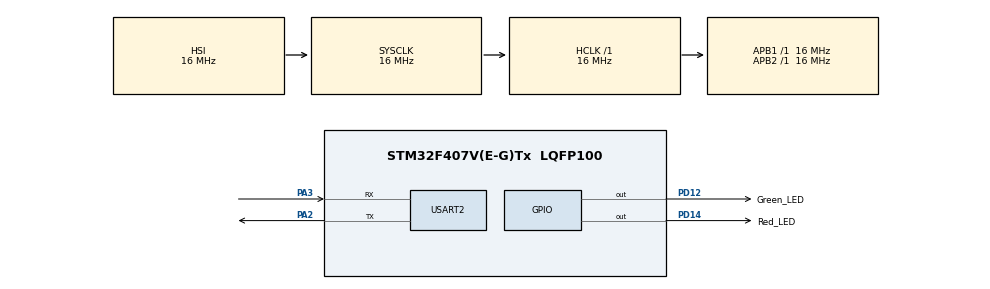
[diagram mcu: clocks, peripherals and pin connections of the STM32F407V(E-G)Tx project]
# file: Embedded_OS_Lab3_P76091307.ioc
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Mcu.Family=STM32F4
Mcu.Name=STM32F407V(E-G)Tx
Mcu.Package=LQFP100
NVIC.PriorityGroup=NVIC_PRIORITYGROUP_4
NVIC.TIM7_IRQn=true\:0\:0\:false\:false\:true\:false\:true
NVIC.TimeBase=TIM7_IRQn
NVIC.TimeBaseIP=TIM7
PA13.Mode=Serial_Wire
PA13.Signal=SYS_JTMS-SWDIO
PA14.Mode=Serial_Wire
PA14.Signal=SYS_JTCK-SWCLK
PA2.Mode=Asynchronous
PA2.Signal=USART2_TX
PA3.Mode=Asynchronous
PA3.Signal=USART2_RX
PD12.GPIO_Label=Green_LED
PD12.Signal=GPIO_Output
PD14.GPIO_Label=Red_LED
PD14.Signal=GPIO_Output
ProjectManager.HeapSize=0x200
ProjectManager.StackSize=0x400
ProjectManager.TargetToolchain=STM32CubeIDE
RCC.AHBFreq_Value=16000000
RCC.APB1Freq_Value=16000000
RCC.APB2Freq_Value=16000000
RCC.CortexFreq_Value=16000000
RCC.HSE_VALUE=25000000
RCC.HSI_VALUE=16000000
RCC.LSE_VALUE=32768
RCC.SYSCLKFreq_VALUE=16000000
RCC.VCOOutputFreq_Value=192000000
USART2.VirtualMode=VM_ASYNC
VP_SYS_VS_tim7.Mode=TIM7
board=custom

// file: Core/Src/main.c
/* USER CODE BEGIN Header */
/**
  ******************************************************************************
  * @file           : main.c
  * @brief          : Main program body
  ******************************************************************************
  * @attention
  *
  * <h2><center>&copy; Copyright (c) 2021 STMicroelectronics.
  * All rights reserved.</center></h2>
  *
  * This software component is licensed by ST under BSD 3-Clause license,
  * the "License"; You may not use this file except in compliance with the
  * License. You may obtain a copy of the License at:
  *                        opensource.org/licenses/BSD-3-Clause
  *
  ******************************************************************************
  */
/* USER CODE END Header */
#include "main.h"

/* USER CODE BEGIN Includes */
#include "FreeRTOS.h"
#include "FreeRTOSConfig.h"
#include "task.h"
/* USER CODE END Includes */

UART_HandleTypeDef huart2;

void SystemClock_Config(void);
static void MX_GPIO_Init(void);
static void MX_USART2_UART_Init(void);
void TaskMonitor_App(void *pvParameters);
void green_blink();
void red_blink();
void delay_task();

int main(void)
{

  /* MCU Configuration--------------------------------------------------------*/

  /* Reset of all peripherals, Initializes the Flash interface and the Systick. */
  HAL_Init();

  /* Configure the system clock */
  SystemClock_Config();

  /* Initialize all configured peripherals */
  MX_GPIO_Init();
  MX_USART2_UART_Init();
  /* USER CODE BEGIN 2 */
  //xTaskCreate(green_blink,"green_blink",130,NULL,1,NULL);
  //xTaskCreate(red_blink,"red_blink",130,NULL,1,NULL);
  //xTaskCreate(delay_task,"delay_task",130,NULL,14,NULL);
  xTaskCreate(TaskMonitor_App,"TaskMonitor",130,NULL,2,NULL);
  vTaskStartScheduler();
  /* USER CODE END 2 */

  /* Infinite loop */
  while (1)
  {

  }
}

void SystemClock_Config(void)
{
  RCC_OscInitTypeDef RCC_OscInitStruct = {0};
  RCC_ClkInitTypeDef RCC_ClkInitStruct = {0};

  /** Configure the main internal regulator output voltage
  */
  __HAL_RCC_PWR_CLK_ENABLE();
  __HAL_PWR_VOLTAGESCALING_CONFIG(PWR_REGULATOR_VOLTAGE_SCALE1);
  /** Initializes the RCC Oscillators according to the specified parameters
  * in the RCC_OscInitTypeDef structure.
  */
  RCC_OscInitStruct.OscillatorType = RCC_OSCILLATORTYPE_HSI;
  RCC_OscInitStruct.HSIState = RCC_HSI_ON;
  RCC_OscInitStruct.HSICalibrationValue = RCC_HSICALIBRATION_DEFAULT;
  RCC_OscInitStruct.PLL.PLLState = RCC_PLL_NONE;
  if (HAL_RCC_OscConfig(&RCC_OscInitStruct) != HAL_OK)
  {
    Error_Handler();
  }
  /** Initializes the CPU, AHB and APB buses clocks
  */
  RCC_ClkInitStruct.ClockType = RCC_CLOCKTYPE_HCLK|RCC_CLOCKTYPE_SYSCLK
                              |RCC_CLOCKTYPE_PCLK1|RCC_CLOCKTYPE_PCLK2;
  RCC_ClkInitStruct.SYSCLKSource = RCC_SYSCLKSOURCE_HSI;
  RCC_ClkInitStruct.AHBCLKDivider = RCC_SYSCLK_DIV1;
  RCC_ClkInitStruct.APB1CLKDivider = RCC_HCLK_DIV1;
  RCC_ClkInitStruct.APB2CLKDivider = RCC_HCLK_DIV1;

  if (HAL_RCC_ClockConfig(&RCC_ClkInitStruct, FLASH_LATENCY_0) != HAL_OK)
  {
    Error_Handler();
  }
}

static void MX_USART2_UART_Init(void)
{

  huart2.Instance = USART2;
  huart2.Init.BaudRate = 115200;
  huart2.Init.WordLength = UART_WORDLENGTH_8B;
  huart2.Init.StopBits = UART_STOPBITS_1;
  huart2.Init.Parity = UART_PARITY_NONE;
  huart2.Init.Mode = UART_MODE_TX_RX;
  huart2.Init.HwFlowCtl = UART_HWCONTROL_NONE;
  huart2.Init.OverSampling = UART_OVERSAMPLING_16;
  if (HAL_UART_Init(&huart2) != HAL_OK)
  {
    Error_Handler();
  }

}

static void MX_GPIO_Init(void)
{
  GPIO_InitTypeDef GPIO_InitStruct = {0};

  /* GPIO Ports Clock Enable */
  __HAL_RCC_GPIOA_CLK_ENABLE();
  __HAL_RCC_GPIOD_CLK_ENABLE();

  /*Configure GPIO pin Output Level */
  HAL_GPIO_WritePin(GPIOD, Green_LED_Pin|Red_LED_Pin, GPIO_PIN_RESET);

  /*Configure GPIO pins : Green_LED_Pin Red_LED_Pin */
  GPIO_InitStruct.Pin = Green_LED_Pin|Red_LED_Pin;
  GPIO_InitStruct.Mode = GPIO_MODE_OUTPUT_PP;
  GPIO_InitStruct.Pull = GPIO_NOPULL;
  GPIO_InitStruct.Speed = GPIO_SPEED_FREQ_LOW;
  HAL_GPIO_Init(GPIOD, &GPIO_InitStruct);

}

/* USER CODE BEGIN 4 */
void green_blink()
{
	uint32_t Greentimer = 1000;
	while(1){
		HAL_GPIO_TogglePin(GPIOD,Green_LED_Pin);
		vTaskDelay(Greentimer);
		Greentimer += 2;
	}
}
void red_blink()
{
	uint32_t Redtimer = 500;
	while(1){
		HAL_GPIO_TogglePin(GPIOD,Red_LED_Pin);
		vTaskDelay(Redtimer);
		Redtimer += 1;
	}

}
void delay_task(){
	while(1){
		vTaskDelay(15000);
	}
}
void TaskMonitor_App(void *pvParameters){
	uint32_t Monitortimer = 200;
	char MonitorTset[20];
	char num[15];
	int i = 0;
	while(1){
		memset(MonitorTset,'\0',sizeof(MonitorTset));
		memset(num,'\0',sizeof(num));
		itoa(i,num,10);
		strcat(num," ");
		sprintf(MonitorTset,"The point is %s\n\r",num);
		HAL_UART_Transmit(&huart2,(uint8_t *)MonitorTset,strlen(MonitorTset),0xffff);
		vTaskDelay(Monitortimer);
		Monitortimer += 1;
		i += 1;
	}
}

/* USER CODE END 4 */

 /**
  * @brief  Period elapsed callback in non blocking mode
  * @note   This function is called  when TIM7 interrupt took place, inside
  * HAL_TIM_IRQHandler(). It makes a direct call to HAL_IncTick() to increment
  * a global variable "uwTick" used as application time base.
  * @param  htim : TIM handle
  * @retval None
  */
void HAL_TIM_PeriodElapsedCallback(TIM_HandleTypeDef *htim)
{
  if (htim->Instance == TIM7) {
    HAL_IncTick();
  }
}

void Error_Handler(void)
{
  __disable_irq();
  while (1)
  {
  }
}

/************************ (C) COPYRIGHT STMicroelectronics *****END OF FILE****/
